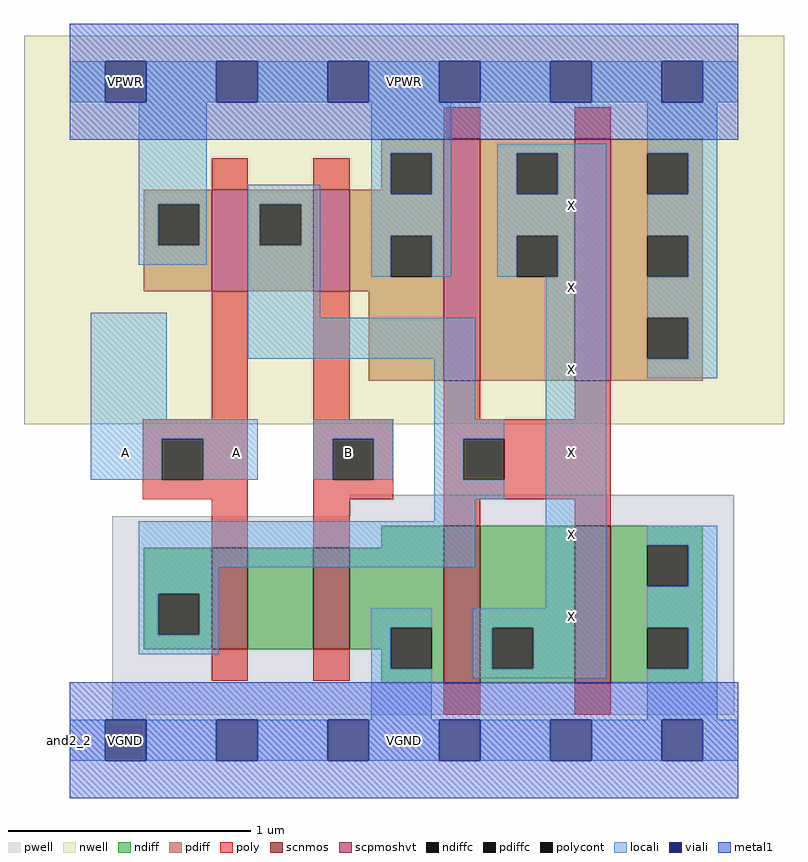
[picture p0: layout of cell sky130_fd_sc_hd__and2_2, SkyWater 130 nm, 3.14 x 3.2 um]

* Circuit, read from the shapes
.subckt sky130_fd_sc_hd__and2_2 A B VGND VNB VPB VPWR X
XM1 n1 A n2 VNB sky130_fd_pr__nfet_01v8 w=0.42 l=0.15
XM2 VGND B n1 VNB sky130_fd_pr__nfet_01v8 w=0.42 l=0.15
XM3 X n2 VGND VNB sky130_fd_pr__nfet_01v8 w=0.65 l=0.15 m=2
XM4 n2 A VPWR VPB sky130_fd_pr__pfet_01v8_hvt w=0.42 l=0.15
XM5 VPWR B n2 VPB sky130_fd_pr__pfet_01v8_hvt w=0.42 l=0.15
XM6 X n2 VPWR VPB sky130_fd_pr__pfet_01v8_hvt w=1 l=0.15 m=2
.ends

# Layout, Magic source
magic
tech sky130B
magscale 1 2
<< nwell >>
rect -38 261 590 582
<< pwell >>
rect 231 185 549 203
rect 35 21 549 185
rect 35 17 63 21
rect 29 -17 63 17
<< scnmos >>
rect 117 75 147 159
rect 201 75 231 159
rect 309 47 339 177
rect 417 47 447 177
<< scpmoshvt >>
rect 117 371 147 455
rect 201 371 231 455
rect 309 297 339 497
rect 417 297 447 497
<< ndiff >>
rect 257 159 309 177
rect 61 121 117 159
rect 61 87 73 121
rect 107 87 117 121
rect 61 75 117 87
rect 147 75 201 159
rect 231 93 309 159
rect 231 75 265 93
rect 257 59 265 75
rect 299 59 309 93
rect 257 47 309 59
rect 339 93 417 177
rect 339 59 349 93
rect 383 59 417 93
rect 339 47 417 59
rect 447 161 523 177
rect 447 127 477 161
rect 511 127 523 161
rect 447 93 523 127
rect 447 59 477 93
rect 511 59 523 93
rect 447 47 523 59
<< pdiff >>
rect 257 485 309 497
rect 257 455 265 485
rect 61 443 117 455
rect 61 409 73 443
rect 107 409 117 443
rect 61 371 117 409
rect 147 443 201 455
rect 147 409 157 443
rect 191 409 201 443
rect 147 371 201 409
rect 231 451 265 455
rect 299 451 309 485
rect 231 417 309 451
rect 231 383 265 417
rect 299 383 309 417
rect 231 371 309 383
rect 247 297 309 371
rect 339 485 417 497
rect 339 451 369 485
rect 403 451 417 485
rect 339 417 417 451
rect 339 383 369 417
rect 403 383 417 417
rect 339 297 417 383
rect 447 485 523 497
rect 447 451 477 485
rect 511 451 523 485
rect 447 417 523 451
rect 447 383 477 417
rect 511 383 523 417
rect 447 349 523 383
rect 447 315 477 349
rect 511 315 523 349
rect 447 297 523 315
<< ndiffc >>
rect 73 87 107 121
rect 265 59 299 93
rect 349 59 383 93
rect 477 127 511 161
rect 477 59 511 93
<< pdiffc >>
rect 73 409 107 443
rect 157 409 191 443
rect 265 451 299 485
rect 265 383 299 417
rect 369 451 403 485
rect 369 383 403 417
rect 477 451 511 485
rect 477 383 511 417
rect 477 315 511 349
<< poly >>
rect 309 497 339 523
rect 417 497 447 523
rect 117 455 147 481
rect 201 455 231 481
rect 117 265 147 371
rect 60 249 147 265
rect 60 215 76 249
rect 110 215 147 249
rect 60 199 147 215
rect 117 159 147 199
rect 201 265 231 371
rect 309 265 339 297
rect 417 265 447 297
rect 201 249 267 265
rect 201 215 217 249
rect 251 215 267 249
rect 201 199 267 215
rect 309 249 447 265
rect 309 215 325 249
rect 359 215 447 249
rect 309 199 447 215
rect 201 159 231 199
rect 309 177 339 199
rect 417 177 447 199
rect 117 49 147 75
rect 201 49 231 75
rect 309 21 339 47
rect 417 21 447 47
<< polycont >>
rect 76 215 110 249
rect 217 215 251 249
rect 325 215 359 249
<< locali >>
rect 0 527 29 561
rect 63 527 121 561
rect 155 527 213 561
rect 247 527 305 561
rect 339 527 397 561
rect 431 527 489 561
rect 523 527 552 561
rect 57 443 113 527
rect 249 485 315 527
rect 57 409 73 443
rect 107 409 113 443
rect 57 393 113 409
rect 147 443 207 459
rect 147 409 157 443
rect 191 409 207 443
rect 17 265 80 353
rect 147 349 207 409
rect 249 451 265 485
rect 299 451 315 485
rect 249 417 315 451
rect 249 383 265 417
rect 299 383 315 417
rect 353 485 443 493
rect 353 451 369 485
rect 403 451 443 485
rect 353 417 443 451
rect 353 383 369 417
rect 403 383 443 417
rect 147 315 335 349
rect 301 265 335 315
rect 17 249 155 265
rect 17 215 76 249
rect 110 215 155 249
rect 201 249 267 265
rect 201 215 217 249
rect 251 215 267 249
rect 301 249 359 265
rect 301 215 325 249
rect 301 199 359 215
rect 301 181 335 199
rect 57 143 335 181
rect 57 121 123 143
rect 57 87 73 121
rect 107 87 123 121
rect 393 109 443 383
rect 477 485 535 527
rect 511 451 535 485
rect 477 417 535 451
rect 511 383 535 417
rect 477 349 535 383
rect 511 315 535 349
rect 477 299 535 315
rect 57 71 123 87
rect 249 93 299 109
rect 249 59 265 93
rect 249 17 299 59
rect 333 93 443 109
rect 333 59 349 93
rect 383 59 443 93
rect 333 51 443 59
rect 477 161 535 177
rect 511 127 535 161
rect 477 93 535 127
rect 511 59 535 93
rect 477 17 535 59
rect 0 -17 29 17
rect 63 -17 121 17
rect 155 -17 213 17
rect 247 -17 305 17
rect 339 -17 397 17
rect 431 -17 489 17
rect 523 -17 552 17
<< viali >>
rect 29 527 63 561
rect 121 527 155 561
rect 213 527 247 561
rect 305 527 339 561
rect 397 527 431 561
rect 489 527 523 561
rect 29 -17 63 17
rect 121 -17 155 17
rect 213 -17 247 17
rect 305 -17 339 17
rect 397 -17 431 17
rect 489 -17 523 17
<< metal1 >>
rect 0 561 552 592
rect 0 527 29 561
rect 63 527 121 561
rect 155 527 213 561
rect 247 527 305 561
rect 339 527 397 561
rect 431 527 489 561
rect 523 527 552 561
rect 0 496 552 527
rect 0 17 552 48
rect 0 -17 29 17
rect 63 -17 121 17
rect 155 -17 213 17
rect 247 -17 305 17
rect 339 -17 397 17
rect 431 -17 489 17
rect 523 -17 552 17
rect 0 -48 552 -17
<< labels >>
flabel metal1 s 29 527 63 561 0 FreeSans 200 0 0 0 VPWR
port 6 nsew power bidirectional abutment
flabel metal1 s 29 -17 63 17 0 FreeSans 200 0 0 0 VGND
port 3 nsew ground bidirectional abutment
flabel locali s 121 221 155 255 0 FreeSans 250 0 0 0 A
port 1 nsew signal input
flabel locali s 397 153 431 187 0 FreeSans 250 0 0 0 X
port 7 nsew signal output
flabel locali s 29 221 63 255 0 FreeSans 250 0 0 0 A
port 1 nsew signal input
flabel locali s 397 85 431 119 0 FreeSans 250 0 0 0 X
port 7 nsew signal output
flabel locali s 397 221 431 255 0 FreeSans 250 0 0 0 X
port 7 nsew signal output
flabel locali s 397 289 431 323 0 FreeSans 250 0 0 0 X
port 7 nsew signal output
flabel locali s 397 357 431 391 0 FreeSans 250 0 0 0 X
port 7 nsew signal output
flabel locali s 397 425 431 459 0 FreeSans 250 0 0 0 X
port 7 nsew signal output
flabel locali s 213 221 247 255 0 FreeSans 250 0 0 0 B
port 2 nsew signal input
flabel nwell s 29 527 63 561 0 FreeSans 200 0 0 0 VPB
port 5 nsew power bidirectional
flabel pwell s 29 -17 63 17 0 FreeSans 200 0 0 0 VNB
port 4 nsew ground bidirectional
rlabel comment s 0 0 0 0 4 and2_2
rlabel metal1 s 0 -48 552 48 1 VGND
port 3 nsew ground bidirectional abutment
rlabel metal1 s 0 496 552 592 1 VPWR
port 6 nsew power bidirectional abutment
<< properties >>
string FIXED_BBOX 0 0 552 544
string GDS_END 3827576
string GDS_FILE $PDKPATH/libs.ref/sky130_fd_sc_hd/gds/sky130_fd_sc_hd.gds
string GDS_START 3822190
string LEFclass CORE
string LEFsite unithd
string LEFsymmetry X Y R90
string path 0.000 13.600 13.800 13.600 
<< end >>
